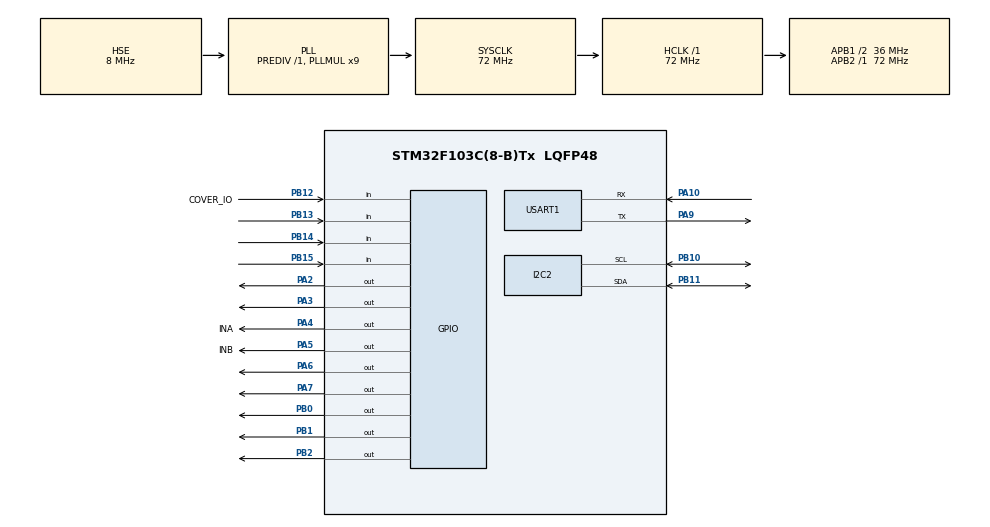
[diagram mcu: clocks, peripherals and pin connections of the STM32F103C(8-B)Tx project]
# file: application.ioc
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Mcu.Family=STM32F1
Mcu.Name=STM32F103C(8-B)Tx
Mcu.Package=LQFP48
NVIC.PriorityGroup=NVIC_PRIORITYGROUP_4
NVIC.TIM4_IRQn=true\:0\:0\:false\:false\:true\:true\:true\:true
NVIC.USART1_IRQn=true\:0\:0\:false\:false\:true\:true\:true\:true
PA10.Mode=Asynchronous
PA10.Signal=USART1_RX
PA13.Mode=Serial_Wire
PA13.Signal=SYS_JTMS-SWDIO
PA14.Mode=Serial_Wire
PA14.Signal=SYS_JTCK-SWCLK
PA2.GPIO_PuPd=GPIO_PULLUP
PA2.Signal=GPIO_Output
PA3.Signal=GPIO_Output
PA4.GPIO_Label=INA
PA4.Signal=GPIO_Output
PA5.GPIO_Label=INB
PA5.Signal=GPIO_Output
PA6.Signal=GPIO_Output
PA7.Signal=GPIO_Output
PA9.Mode=Asynchronous
PA9.Signal=USART1_TX
PB0.Signal=GPIO_Output
PB1.Signal=GPIO_Output
PB10.Mode=I2C
PB10.Signal=I2C2_SCL
PB11.Mode=I2C
PB11.Signal=I2C2_SDA
PB12.GPIO_Label=COVER_IO
PB12.Signal=GPIO_Input
PB13.Signal=GPIO_Input
PB14.Signal=GPIO_Input
PB15.Signal=GPIO_Input
PB2.Signal=GPIO_Output
PD0-OSC_IN.Mode=HSE-External-Oscillator
PD0-OSC_IN.Signal=RCC_OSC_IN
PD1-OSC_OUT.Mode=HSE-External-Oscillator
PD1-OSC_OUT.Signal=RCC_OSC_OUT
ProjectManager.HeapSize=0x200
ProjectManager.StackSize=0x400
ProjectManager.TargetToolchain=MDK-ARM V5.32
RCC.ADCPresc=RCC_ADCPCLK2_DIV6
RCC.AHBFreq_Value=72000000
RCC.APB1CLKDivider=RCC_HCLK_DIV2
RCC.APB1Freq_Value=36000000
RCC.APB1TimFreq_Value=72000000
RCC.APB2Freq_Value=72000000
RCC.APB2TimFreq_Value=72000000
RCC.HCLKFreq_Value=72000000
RCC.PLLMUL=RCC_PLL_MUL9
RCC.PLLSourceVirtual=RCC_PLLSOURCE_HSE
RCC.SYSCLKFreq_VALUE=72000000
RCC.SYSCLKSource=RCC_SYSCLKSOURCE_PLLCLK
RCC.USBFreq_Value=72000000
TIM4.AutoReloadPreload=TIM_AUTORELOAD_PRELOAD_ENABLE
TIM4.Period=10000-1
TIM4.Prescaler=36-1
USART1.VirtualMode=VM_ASYNC
VP_TIM4_VS_ClockSourceINT.Mode=Internal
board=custom

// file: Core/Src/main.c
/* USER CODE BEGIN Header */
/**
  ******************************************************************************
  * @file           : main.c
  * @brief          : Main program body
  ******************************************************************************
  * @attention
  *
  * Copyright (c) 2026 STMicroelectronics.
  * All rights reserved.
  *
  * This software is licensed under terms that can be found in the LICENSE file
  * in the root directory of this software component.
  * If no LICENSE file comes with this software, it is provided AS-IS.
  *
  ******************************************************************************
  */
/* USER CODE END Header */
#include "main.h"
#include "i2c.h"
#include "tim.h"
#include "usart.h"
#include "gpio.h"

/* USER CODE BEGIN Includes */
#include "bootloader.h"
#include "bootloader_uart.h"
#include "wifi.h"
#include "HT1602.H"
#include "TouchIN.h"
#include "as5600.h"
/* USER CODE END Includes */

/* USER CODE BEGIN PV */
uint8_t temp_wifi_uart_rx_buf[256];  /* 串口接收缓冲�???????? */
unsigned char dismem[16]={0X0,0X0,0X0,0X0,0X0,0X0,0X0,0X0,0X0,0X0,0X0,0X0,0X0,0X0,0X00,0X00};
float now_angle;
float last_angle;
unsigned long target_angle;
uint8_t dis_angle;
uint8_t alive;
uint32_t dis_direction = 0;  //ui显示的方向 0/1 持续化存储在flash
AS5600_TypeDef as5600;
uint8_t control_origin = 0; //0:控制来自按键 1:控制来自app 默认为0
uint8_t sleep_flag = 0; //睡眠状态标志，0:正常状态 1:睡眠状态
uint8_t my_reset_wifi_flag = 0; //wifi重置标志，0:正常状态 1:正在重置wifi，此时不处理按键逻辑和显示内容，等待wifi重置完成后重启设备
uint16_t left_right_count = 0; //左右按键同时按下计数
uint16_t middle_count = 0;  //中间按键按下计数
uint16_t left_right_middle_count = 0; //三个按键全部按下计数
uint16_t key_no_touch_count = 0; //没有按键按下计数
uint8_t dp_angle_update_flag = 0; //dp上报角度标志，0:不需要上报 1:需要上报
uint8_t dp_wifi_update_flag = 0; //dp上报wifi信号强
uint16_t dp_wifi_update_count = 0; //dp上报wifi信号强计数，达到一定次数后触发上报一次
//realtime open value(只上报)
//备注:
#define DPID_ANGLEDIS 102
//wifi信号强度(只上报)
//备注:
#define DPID_WIFI_VALUE 103
uint8_t test_direc = 0;
/* USER CODE END PV */

void SystemClock_Config(void);

/* USER CODE BEGIN 0 */
uint8_t AngleToDis(float angle);
uint8_t test = 0;
/* USER CODE END 0 */

int main(void)
 {

  /* USER CODE BEGIN 1 */

	/* 设置中断向量表偏- 必须在最前面 ota�??要解注释，调试可以保�?? */
  SCB->VTOR = APP_START_ADDR;
	/* 编译成bootloader�??支持的bin，需要修改ld中的以下参数*/
	// flash 0x08004000  0xBC00
  // RAM   0x20001000  0x4000
  /* USER CODE END 1 */

  /* MCU Configuration--------------------------------------------------------*/

  /* Reset of all peripherals, Initializes the Flash interface and the Systick. */
  HAL_Init();

  /* Configure the system clock */
  SystemClock_Config();

  /* Initialize all configured peripherals */
  MX_GPIO_Init();
  MX_USART1_UART_Init();
  MX_TIM4_Init();
  MX_I2C2_Init();
  /* USER CODE BEGIN 2 */
  /* 初始化Bootloader */
  Bootloader_Init();
  HAL_GPIO_WritePin(GPIOA, GPIO_PIN_2, GPIO_PIN_SET);
  /* 清空UART缓冲区，避免之前的数据干扰 */
  __HAL_UART_FLUSH_DRREGISTER(&huart1);
  __HAL_UART_CLEAR_FLAG(&huart1, UART_FLAG_RXNE);
  __HAL_UART_CLEAR_FLAG(&huart1, UART_FLAG_TC);
  HAL_UART_Receive_IT(&huart1, temp_wifi_uart_rx_buf, 1);  // 启动UART接收中断，数据由MCU_SDK处理
  /* 初始化串口IAP协议 */
  Bootloader_UART_Init(&huart1);

	//Bootloader_UART_SendString("  STM32 Application enter successfull!\r\n");

  /* 初始化wifi协议,必须在MCU初始化代码中调用该函�???????? */
  wifi_protocol_init();
  // 产品信息 确保在上�????????次ota结束重启后，bootloader能回复模块当前的产品信息，防止误判为ota超时
  Bootloader_UpdateAppVersion();
  extern void product_info_update();
  product_info_update();
  /* USER CODE END 2 */

  /* Infinite loop */
  /* USER CODE BEGIN WHILE */
	as5600.i2cHandle = &hi2c2;
	as5600.i2cAddr = AS5600_SLAVE_ADDRESS<<1; // STM32 HAL库使用左移后的地�???
  AS5600_Init(&as5600);
  HT1621_Cmd_init();//液晶初始化sun
  Dis_Clr();        //清屏sun
  TT_Dis(1);
  Signle_Dis(1);
  HT1621_WriteData(0x00,dismem,16);
  TOP_Light_ON();
  Light_OFF();
  extern unsigned char TouchIN;
  //读取显示方向状态，确保在每次上电，app能正确读取显示方向状态
  Bootloader_ReadAppStatus(&dis_direction);
  HAL_TIM_Base_Start_IT(&htim4);
  HAL_Delay(100); // 等待系统稳定
  while (1)
  {
    // WBR模块通信
    wifi_uart_service();
    // 磁编读取角度
    AS5600_Get_True_Angle(&as5600, &now_angle);

    if(sleep_flag){
      Dis_Clr();        //清屏sun
      HT1621_WriteData(0x00,dismem,16);
      Light_OFF();
      continue;    // 如果睡眠状态,不处理按键逻辑和显示内容
    }

    TT_Dis(1);
    HT1621_WriteData(0x00,dismem,16);

    // 不是只在睡眠状态检查和更新UI显示方向标志-->flash持久化存储 防止写flash导致中断失败
    uint32_t flash_dis_direction  = 2;
    if(Bootloader_ReadAppStatus(&flash_dis_direction) == IAP_SUCCESS)
    {
        if(flash_dis_direction != dis_direction){
            Bootloader_SaveAppStatus(dis_direction);
        }
    }

    // 根据control_origin判断是手机角度or按键控制
    if(control_origin == 1){ // 如果控制来自app，则根据目标角度和当前角度的差值来控制转动，避免频繁切换转动状态
      if(target_angle >= 0 && target_angle <= 180){
        if(target_angle < now_angle - 0.5){ // 角度差大于0.5度才转动
          Turn_left();
          test_direc = 1;
        }else if(target_angle > now_angle + 0.5){
          Turn_right();
          test_direc = 2;
        }else{
          Turn_stop();
          test_direc = 0;
        }
      }
    }else{
      // 根据按键状和角度信息更新显示内容
      // 只按住左键or右键
      if(TouchIN == 1 || TouchIN == 2){
        if(TouchIN == 1){
          if(now_angle>=0){
            Turn_left(); //左转
          }else{
            Turn_stop();// 不按住左or右键位,关闭转动
          }
        }else if(TouchIN == 2){
          if(now_angle<=180){
            Turn_right(); //右转
          }else{
            Turn_stop();
          }
        }
      }else{
        Turn_stop();// 不按住左or右键位,关闭转动
      }
    }

    // 判断显示方向
    if(dis_direction){
        //TT_Dis(dis_direction);
        dis_angle = AngleToDis(now_angle);
    }else{
      //TT_Dis(dis_direction);
      dis_angle = 51 - AngleToDis(now_angle);
    }
    //HT1621_WriteData(0x00,dismem,16);

    // wifi重置
    if(my_reset_wifi_flag){

        if(reset_wifi_flag)
        {
            my_reset_wifi_flag = 0;
        }else{
					// 重置wifi
					mcu_reset_wifi();
				}
    }

    // 更新wifi状态 只要不是低功耗模式就点亮wifi
    if(wifi_work_state == 4){
      Signle_Dis(1);
    }else{
      Signle_Dis(0);
    }
    HT1621_WriteData(0x00,dismem,16);

    // 只要联网就上报角度数据
    if(wifi_work_state == 4 || wifi_work_state == 3){
      if(dp_angle_update_flag){
        mcu_dp_value_update(DPID_ANGLE,(unsigned long)(now_angle)); //VALUE型数据上报 数值范围: 0-180, 间距: 1, 倍数: 0, 单位: °;
        mcu_dp_value_update(DPID_ANGLEDIS,(unsigned long)(now_angle)); //VALUE型数据上报数值范围: 0-180, 间距: 1, 倍数: 0, 单位:°;
        dp_angle_update_flag = 0;
      }
      if(dp_wifi_update_flag){
        dp_wifi_update_flag = 0;
        mcu_dp_value_update(DPID_WIFI_VALUE,(unsigned long)(wifi_rssi)); //VALUE型数据上报 数值范围:-500-500, 间距: 1, 倍数: 0, 单位: dBm;
      }
    }

    // 更新显示
    Point_Dis(dis_angle);
    HT1621_WriteData(0x00,dismem,16);
    DisplayFloat(now_angle);
    HT1621_WriteData(0x00,dismem,16);
    /* USER CODE END WHILE */

  }
}

void SystemClock_Config(void)
{
  RCC_OscInitTypeDef RCC_OscInitStruct = {0};
  RCC_ClkInitTypeDef RCC_ClkInitStruct = {0};

  /** Initializes the RCC Oscillators according to the specified parameters
  * in the RCC_OscInitTypeDef structure.
  */
  RCC_OscInitStruct.OscillatorType = RCC_OSCILLATORTYPE_HSE;
  RCC_OscInitStruct.HSEState = RCC_HSE_ON;
  RCC_OscInitStruct.HSEPredivValue = RCC_HSE_PREDIV_DIV1;
  RCC_OscInitStruct.HSIState = RCC_HSI_ON;
  RCC_OscInitStruct.PLL.PLLState = RCC_PLL_ON;
  RCC_OscInitStruct.PLL.PLLSource = RCC_PLLSOURCE_HSE;
  RCC_OscInitStruct.PLL.PLLMUL = RCC_PLL_MUL9;
  if (HAL_RCC_OscConfig(&RCC_OscInitStruct) != HAL_OK)
  {
    Error_Handler();
  }

  /** Initializes the CPU, AHB and APB buses clocks
  */
  RCC_ClkInitStruct.ClockType = RCC_CLOCKTYPE_HCLK|RCC_CLOCKTYPE_SYSCLK
                              |RCC_CLOCKTYPE_PCLK1|RCC_CLOCKTYPE_PCLK2;
  RCC_ClkInitStruct.SYSCLKSource = RCC_SYSCLKSOURCE_PLLCLK;
  RCC_ClkInitStruct.AHBCLKDivider = RCC_SYSCLK_DIV1;
  RCC_ClkInitStruct.APB1CLKDivider = RCC_HCLK_DIV2;
  RCC_ClkInitStruct.APB2CLKDivider = RCC_HCLK_DIV1;

  if (HAL_RCC_ClockConfig(&RCC_ClkInitStruct, FLASH_LATENCY_2) != HAL_OK)
  {
    Error_Handler();
  }
}

/* USER CODE BEGIN 4 */
void HAL_UART_RxCpltCallback(UART_HandleTypeDef *huart)
{
  if (huart->Instance == USART1)
  {
	  HAL_UART_IRQHandler(&huart1);
    uart_receive_input(temp_wifi_uart_rx_buf[0]);  // 将接收到的数据传递给MCU_SDK处理
    HAL_UART_Receive_IT(&huart1,temp_wifi_uart_rx_buf,1);
  }
}

// 200hz
void HAL_TIM_PeriodElapsedCallback(TIM_HandleTypeDef *htim)
{
    if (htim == (&htim4))
    {
      TouchIN_Dect(); // 触摸按键�?�?

      // ************判断盖子开合 启动休眠  待测试************//
      // if(GetCoverStatus()){
      //   sleep_flag = 1;
      // }else{
      //   sleep_flag = 0;
      // }

      // ************判断左右长按************//
      if(TouchIN == 3){
        left_right_count++;
      }else{
        left_right_count = 0;
      }
      // 长按3s 切换方向
      if(left_right_count == 600){
        left_right_count = 0;
        dis_direction = dis_direction==1?0:1;
      }

      // ************判断中间长按************//
      if(TouchIN == 4){
        middle_count++;
      }else{
        middle_count = 0;
      }
      // 长按5s 重置wifi
      if(middle_count == 1000){
        middle_count = 0;
        my_reset_wifi_flag = 1;
      }

      // ************判断三键长按************//
      if(TouchIN == 7){
        left_right_middle_count++;
      }else{
        left_right_middle_count = 0;
      }
      // 长按3s 休眠
      if(left_right_middle_count == 600){
        left_right_middle_count = 0;
        sleep_flag = sleep_flag==1?0:1;
      }
      // ************检测按键 控制key的灯光************//
      if(TouchIN == 0){
        key_no_touch_count++;
      }else{
        control_origin = 0; // 只要有按键操作就认为控制来自按键
        Light_ON();
        key_no_touch_count = 0;
      }
      if(key_no_touch_count >= 7000){
        Light_OFF();
      }
     // ************wifi 强度/阀门角度 检测更新************//
      dp_wifi_update_count++;
      if(dp_wifi_update_count >= 15){ // 每1s更新一次wifi信号强度和角度数据，避免频繁上报
        dp_wifi_update_count = 0;
          mcu_get_wifi_rssi(); // 获取wifi信号强度，结果会通过uart接收中断回调函数返回，处理完后会置位dp_wifi_update_flag标志位
        //mcu_start_wifitest();
        dp_angle_update_flag = 1;
      }
      if(dp_angle_update_flag == 0){ // 角度变化时也更新角度，避免频繁上报
        if(now_angle != last_angle){
          dp_angle_update_flag = 1;
        }
      }
      last_angle = now_angle;
    }
}

uint8_t AngleToDis(float angle) {
    // 角度范围 0~180，输出范围 0~51（共 52 个等级）
    // 映射公式：output = floor(angle * 52 / 180)，边界处理 angle=180 时输出 51
    uint16_t tmp = angle * 52u;
    uint8_t result = tmp / 180u;
    if (result == 52u) {   // 仅当 angle=180 时 result 为 52
        result = 51u;
    }
    return result;
}

/* USER CODE END 4 */

void Error_Handler(void)
{
  __disable_irq();
  while (1)
  {
  }
}
